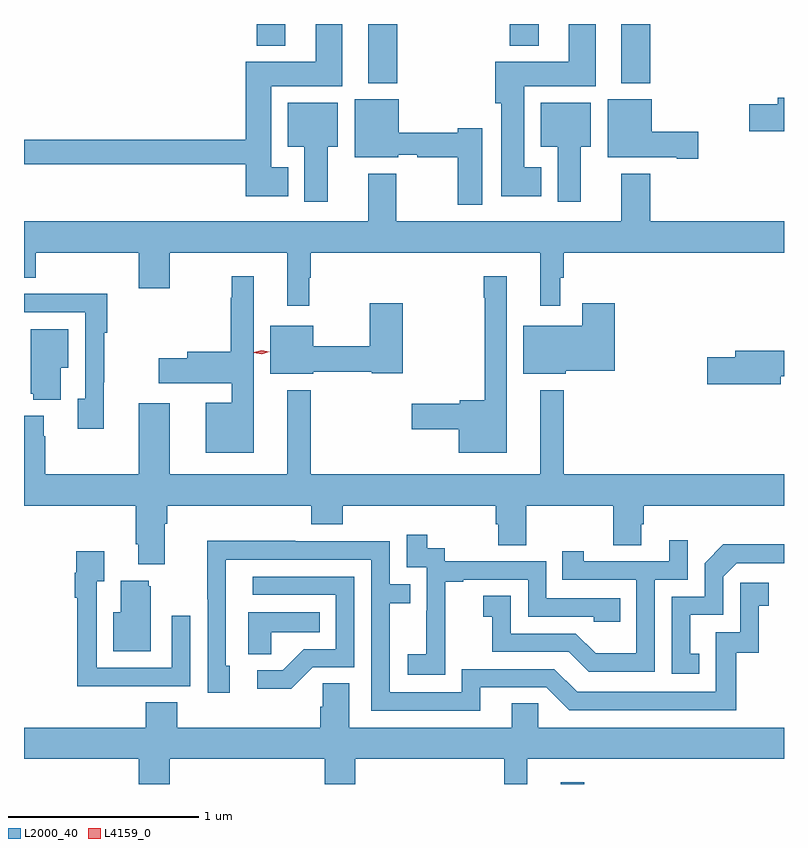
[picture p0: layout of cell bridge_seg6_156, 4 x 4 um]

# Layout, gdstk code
import gdstk
lib = gdstk.Library(unit=1e-6, precision=1e-09)
def R(c, l, rs):  # rectangles x0, y0, x1, y1
    for r in rs: c.add(gdstk.rectangle(r[:2], r[2:], *l))
def P(c, l, *ps):  # polygons
    for p in ps: c.add(gdstk.Polygon(p, *l))
L2000_40 = (2000, 40)
L4159_0 = (4159, 0)

bridge_seg6_156 = lib.new_cell('bridge_seg6_156')
R(bridge_seg6_156, L2000_40, [(574.823,973.843,574.945,973.852), (573.809,977.531,573.962,977.843), (575.141,977.531,575.294,977.843), (573.221,977.729,573.373,977.843), (574.553,977.729,574.705,977.843)])
P(bridge_seg6_156, L2000_40, [(574.72,977.089),(574.63,977.089),(574.63,977.516),(575.005,977.516),(575.005,977.843),(574.865,977.843),(574.865,977.644),(574.478,977.644),(574.478,977.426),(574.508,977.426),(574.508,976.937),(574.72,976.937)],
  [(573.388,977.089),(573.298,977.089),(573.298,977.516),(573.673,977.516),(573.673,977.843),(573.533,977.843),(573.533,977.644),(573.164,977.644),(573.164,977.234),(571.997,977.234),(571.997,977.106),(573.164,977.106),(573.164,976.937),(573.388,976.937)],
  [(575.997,977.456),(575.963,977.456),(575.963,977.42),(575.814,977.42),(575.814,977.278),(575.997,977.278)],
  [(575.545,977.276),(575.302,977.276),(575.302,977.446),(575.069,977.446),(575.069,977.141),(575.432,977.141),(575.432,977.134),(575.545,977.134)],
  [(574.408,977.294),(574.279,977.294),(574.279,977.27),(573.97,977.27),(573.97,977.446),(573.737,977.446),(573.737,977.141),(573.966,977.141),(573.966,977.154),(574.066,977.154),(574.066,977.142),(574.279,977.142),(574.279,976.893),(574.408,976.893)],
  [(574.927,977.198),(574.981,977.198),(574.981,977.428),(574.718,977.428),(574.718,977.198),(574.805,977.198),(574.805,976.908),(574.927,976.908)],
  [(573.595,977.198),(573.649,977.198),(573.649,977.428),(573.386,977.428),(573.386,977.198),(573.473,977.198),(573.473,976.908),(573.595,976.908)],
  [(573.497,976.508),(573.505,976.508),(573.505,976.64),(574.715,976.64),(574.715,976.359),(574.819,976.359),(574.819,976.508),(574.837,976.508),(574.837,976.64),(575.997,976.64),(575.997,976.804),(575.294,976.804),(575.294,977.056),(575.141,977.056),(575.141,976.804),(573.957,976.804),(573.957,977.056),(573.809,977.056),(573.809,976.804),(571.997,976.804),(571.997,976.507),(572.06,976.507),(572.06,976.64),(572.6,976.64),(572.6,976.452),(572.764,976.452),(572.764,976.64),(573.383,976.64),(573.383,976.359),(573.497,976.359)],
  [(574.537,976.516),(574.416,976.516),(574.416,976.403),(574.423,976.403),(574.423,975.863),(574.29,975.863),(574.29,975.845),(574.038,975.845),(574.038,975.71),(574.286,975.71),(574.286,975.587),(574.537,975.587)],
  [(573.205,976.516),(573.091,976.516),(573.091,976.403),(573.084,976.403),(573.084,976.118),(572.855,976.118),(572.855,976.083),(572.706,976.083),(572.706,975.953),(573.091,975.953),(573.091,975.85),(572.954,975.85),(572.954,975.587),(573.205,975.587)],
  [(572.417,975.958),(572.42,975.958),(572.42,976.219),(572.435,976.219),(572.435,976.424),(572.143,976.424),(572.143,976.422),(571.997,976.422),(571.997,976.326),(572.319,976.326),(572.319,975.87),(572.279,975.87),(572.279,975.714),(572.417,975.714)],
  [(573.52,976.012),(573.828,976.012),(573.828,976.004),(573.99,976.004),(573.99,976.372),(573.817,976.372),(573.817,976.148),(573.52,976.148),(573.52,976.255),(573.293,976.255),(573.293,976.001),(573.52,976.001)],
  [(574.848,976.019),(575.105,976.019),(575.105,976.372),(574.934,976.372),(574.934,976.255),(574.625,976.255),(574.625,976.001),(574.848,976.001)],
  [(572.191,976.034),(572.23,976.034),(572.23,976.237),(572.033,976.237),(572.033,975.897),(572.045,975.897),(572.045,975.866),(572.191,975.866)],
  [(575.98,975.988),(575.997,975.988),(575.997,976.124),(575.741,976.124),(575.741,976.088),(575.592,976.088),(575.592,975.946),(575.98,975.946)],
  [(573.509,975.209),(573.674,975.209),(573.674,975.308),(574.481,975.308),(574.481,975.21),(574.493,975.21),(574.493,975.1),(574.641,975.1),(574.641,975.308),(575.098,975.308),(575.098,975.1),(575.245,975.1),(575.245,975.21),(575.258,975.21),(575.258,975.308),(575.997,975.308),(575.997,975.472),(574.837,975.472),(574.837,975.916),(574.715,975.916),(574.715,975.472),(573.505,975.472),(573.505,975.916),(573.383,975.916),(573.383,975.472),(572.764,975.472),(572.764,975.847),(572.6,975.847),(572.6,975.472),(572.109,975.472),(572.109,975.674),(572.101,975.674),(572.101,975.781),(571.997,975.781),(571.997,975.308),(572.585,975.308),(572.585,975.106),(572.597,975.106),(572.597,974.999),(572.737,974.999),(572.737,975.212),(572.75,975.212),(572.75,975.308),(573.509,975.308)],
  [(574.215,974.623),(574.214,974.623),(574.214,974.907),(574.309,974.907),(574.309,974.919),(574.65,974.919),(574.65,974.724),(574.995,974.724),(574.995,974.697),(575.135,974.697),(575.135,974.82),(574.746,974.82),(574.746,975.015),(574.212,975.015),(574.212,975.084),(574.12,975.084),(574.12,975.154),(574.011,975.154),(574.011,974.985),(574.116,974.985),(574.116,974.756),(574.115,974.756),(574.115,974.527),(574.017,974.527),(574.017,974.417),(574.215,974.417)],
  [(575.316,974.919),(575.49,974.919),(575.49,975.127),(575.393,975.127),(575.393,975.015),(574.942,975.015),(574.942,975.067),(574.831,975.067),(574.831,974.919),(575.22,974.919),(575.22,974.53),(575.006,974.53),(574.902,974.634),(574.56,974.634),(574.56,974.833),(574.413,974.833),(574.413,974.723),(574.462,974.723),(574.462,974.538),(574.865,974.538),(574.97,974.433),(575.316,974.433)],
  [(574.399,974.352),(574.746,974.352),(574.866,974.232),(575.746,974.232),(575.746,974.535),(575.864,974.535),(575.864,974.781),(575.917,974.781),(575.917,974.902),(575.766,974.902),(575.766,974.643),(575.637,974.643),(575.637,974.328),(574.908,974.328),(574.788,974.448),(574.302,974.448),(574.302,974.325),(573.921,974.325),(573.921,974.794),(574.031,974.794),(574.031,974.895),(573.921,974.895),(573.921,975.12),(573.425,975.12),(573.425,975.122),(572.962,975.122),(572.962,974.815),(572.964,974.815),(572.964,974.322),(573.079,974.322),(573.079,974.466),(573.06,974.466),(573.06,975.024),(573.825,975.024),(573.825,974.229),(574.399,974.229)],
  [(575.552,974.529),(575.503,974.529),(575.503,974.733),(575.676,974.733),(575.676,974.934),(575.748,975.006),(575.997,975.006),(575.997,975.104),(575.678,975.104),(575.58,975.006),(575.58,974.829),(575.406,974.829),(575.406,974.424),(575.552,974.424)],
  [(572.555,974.358),(572.871,974.358),(572.871,974.728),(572.775,974.728),(572.775,974.454),(572.379,974.454),(572.379,974.911),(572.419,974.911),(572.419,975.067),(572.271,975.067),(572.271,974.954),(572.263,974.954),(572.263,974.822),(572.278,974.822),(572.278,974.357),(572.555,974.357)],
  [(573.516,974.457),(573.735,974.457),(573.735,974.934),(573.201,974.934),(573.201,974.838),(573.639,974.838),(573.639,974.553),(573.47,974.553),(573.359,974.442),(573.225,974.442),(573.225,974.345),(573.403,974.345)],
  [(572.665,974.883),(572.654,974.883),(572.654,974.914),(572.507,974.914),(572.507,974.746),(572.468,974.746),(572.468,974.543),(572.665,974.543)],
  [(573.297,974.642),(573.554,974.642),(573.554,974.746),(573.176,974.746),(573.176,974.527),(573.297,974.527)],
  [(573.58,973.843),(573.74,973.843),(573.74,973.976),(574.524,973.976),(574.524,973.843),(574.645,973.843),(574.645,973.976),(575.997,973.976),(575.997,974.14),(574.704,974.14),(574.704,974.267),(574.565,974.267),(574.565,974.14),(573.709,974.14),(573.709,974.372),(573.57,974.372),(573.57,974.249),(573.557,974.249),(573.557,974.14),(572.804,974.14),(572.804,974.273),(572.639,974.273),(572.639,974.14),(571.997,974.14),(571.997,973.976),(572.6,973.976),(572.6,973.843),(572.764,973.843),(572.764,973.976),(573.58,973.976)])
P(bridge_seg6_156, L4159_0, [(573.248,976.106),(573.207,976.114),(573.207,976.115),(573.207,976.115),(573.247,976.126),(573.288,976.117),(573.288,976.117),(573.288,976.117)])

lib.write_gds('bridge_seg6_156.gds')
